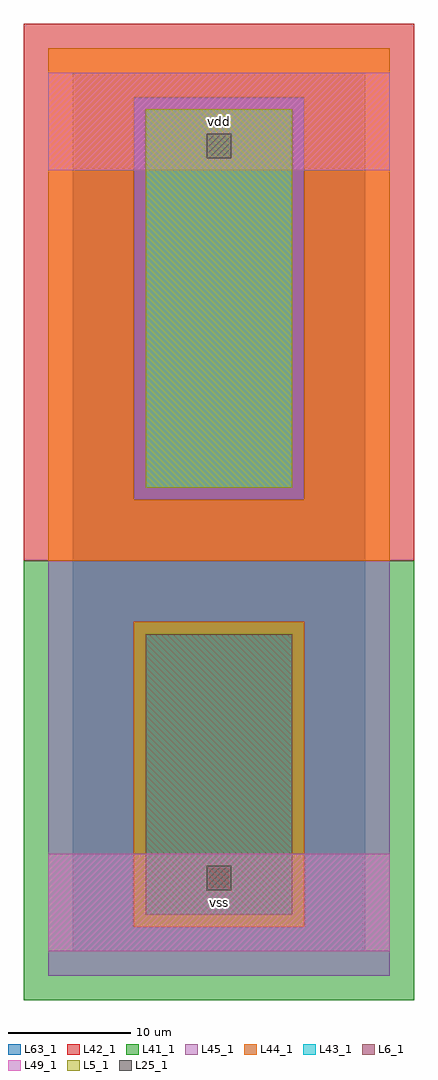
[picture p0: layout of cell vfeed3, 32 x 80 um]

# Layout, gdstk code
import gdstk
lib = gdstk.Library(unit=1e-6, precision=1e-09)
def R(c, l, rs):  # rectangles x0, y0, x1, y1
    for r in rs: c.add(gdstk.rectangle(r[:2], r[2:], *l))
L5_1 = (5, 1)
L6_1 = (6, 1)
L25_1 = (25, 1)
L41_1 = (41, 1)
L42_1 = (42, 1)
L43_1 = (43, 1)
L44_1 = (44, 1)
L45_1 = (45, 1)
L49_1 = (49, 1)
L63_1 = (63, 1)

vfeed3 = lib.new_cell('vfeed3')
R(vfeed3, L5_1, [(6,38,18,69)])
R(vfeed3, L6_1, [(6,3,18,26), (6,3,18,26)])
R(vfeed3, L25_1, [(11,5,13,7), (11,65,13,67)])
R(vfeed3, L41_1, [(-4,-4,28,32)])
R(vfeed3, L42_1, [(-4,32,28,76)])
R(vfeed3, L43_1, [(6,3,18,26), (6,38,18,69)])
R(vfeed3, L44_1, [(5,2,19,27), (-2,32,26,37), (-2,37,5,70), (19,37,26,70), (-2,70,26,74)])
R(vfeed3, L45_1, [(-2,-2,26,2), (-2,2,5,27), (19,2,26,27), (-2,27,26,32), (5,37,19,70)])
R(vfeed3, L49_1, [(-2,0,26,8), (-2,64,26,72)])
R(vfeed3, L63_1, [(0,0,24,72)])
vfeed3.add(gdstk.Label('vss', (12,4), layer=49, texttype=1))
vfeed3.add(gdstk.Label('vdd', (12,68), layer=49, texttype=1))

lib.write_gds('vfeed3.gds')
